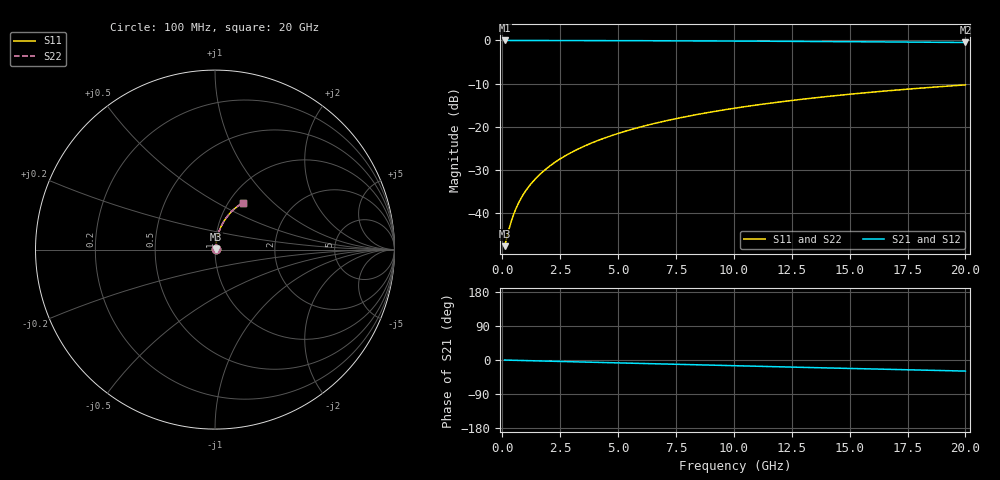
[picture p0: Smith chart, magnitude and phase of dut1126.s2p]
! Touchstone file exported from HFSS 2026.1.0
!  File:  C:/ffzhzh/LocalFiles/Ansys_Project_Files/temp_train_BSMRDL_1126_1783175215_43440.aedt
!  Generated:  10:28:06 PM Jul  4, 2026
!  Design:  BSMRDL
!  Project:  temp_train_BSMRDL_1126_1783175215_43440
! Variables:
!  h_bsmrdl = 2.05um
!  h_ox = 20um
!  h_rdl = 5um
!  h_sub = 80um
!  h_tmrdl = 5um
!  h_tsv = 80um
!  h_via = 3um
!  l_bsmrdl = 380.55um
!  l_sub = 780.55um
!  l_tmrdl = 200um
!  m_sub = 200um
!  pitch = 45.15um
!  r_tsv = 6um
!  s_tmrdl = 10um
!  w_bsmrdl = 19.43um
!  w_sub = 500um
!  w_tmrdl = 12um
!  x_tsv_center1 = 206um
!  x_tsv_center2 = 605.98um
!  x_tsv_center3 = 817.98um
!  x_tsv_center4 = 1217.96um
!  x_tsv_center5 = 1429.96um
!  x_tsv_center6 = 1829.94um
# GHz S MA R 50.000000
! Terminal data exported
! Port[1] = BSM_RDL1_1_T1
! Port[2] = BSM_RDL1_1_T2
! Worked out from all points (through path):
!   200 points, 100 MHz to 20 GHz, reference 50 ohm
!   highest |S21| = -0.03 dB at 100 MHz (marker M1); lowest = -0.5 dB at 20 GHz (marker M2)
!   group delay of S21, straight-line fit = 4.07 ps
!   lowest |S11| = -47.7 dB at 100 MHz (marker M3), VSWR 1.01, Z = 50.4 + j0.184 ohm
!   |S11| at or under -10 dB: start of sweep to end of sweep
!   |S22| runs from -47.7 to -10.3 dB; largest |S21 - S12| = 4.3e-15
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0.1  0.004136 26.1  0.9963 -0.2  0.9963 -0.2  0.004136 26.1
! Gamma 0 0 0 0
! Port Impedance 50 0 50 0
0.3  0.006665 54.2  0.9961 -0.5  0.9961 -0.5  0.006665 54.2
0.4  0.008214 60.6  0.996 -0.6  0.996 -0.6  0.008214 60.6
0.5  0.009813 64.8  0.9959 -0.8  0.9959 -0.8  0.009813 64.8
0.6  0.01143 67.7  0.9958 -1.0  0.9958 -1.0  0.01143 67.7
0.7  0.01305 69.9  0.9957 -1.1  0.9957 -1.1  0.01305 69.9
0.9  0.01629 72.9  0.9955 -1.4  0.9955 -1.4  0.01629 72.9
1.2  0.02115 75.6  0.9952 -1.9  0.9952 -1.9  0.02115 75.6
1.4  0.0244 76.8  0.9951 -2.2  0.9951 -2.2  0.0244 76.8
1.7  0.02929 78.0  0.9948 -2.6  0.9948 -2.6  0.02929 78.0
2.2  0.03748 79.2  0.9945 -3.4  0.9945 -3.4  0.03748 79.2
2.8  0.04734 79.7  0.9939 -4.3  0.9939 -4.3  0.04734 79.7
3.5  0.05886 79.7  0.9932 -5.4  0.9932 -5.4  0.05886 79.7
4.2  0.07036 79.4  0.9924 -6.4  0.9924 -6.4  0.07036 79.4
5  0.08346 78.8  0.9912 -7.6  0.9912 -7.6  0.08346 78.7
5.9  0.09811 77.9  0.9898 -9.0  0.9898 -9.0  0.09811 77.8
6.8  0.1127 76.8  0.988 -10.3  0.988 -10.3  0.1127 76.8
8.3  0.1366 75.0  0.9847 -12.6  0.9847 -12.6  0.1366 74.9
10.1  0.1647 72.6  0.9801 -15.2  0.9801 -15.2  0.1647 72.6
13.4  0.2144 68.1  0.9697 -20.0  0.9697 -20.0  0.2144 68.1
16.7  0.2612 63.6  0.9575 -24.7  0.9575 -24.7  0.2612 63.5
20  0.3048 59.2  0.9439 -29.3  0.9439 -29.3  0.3048 59.1
